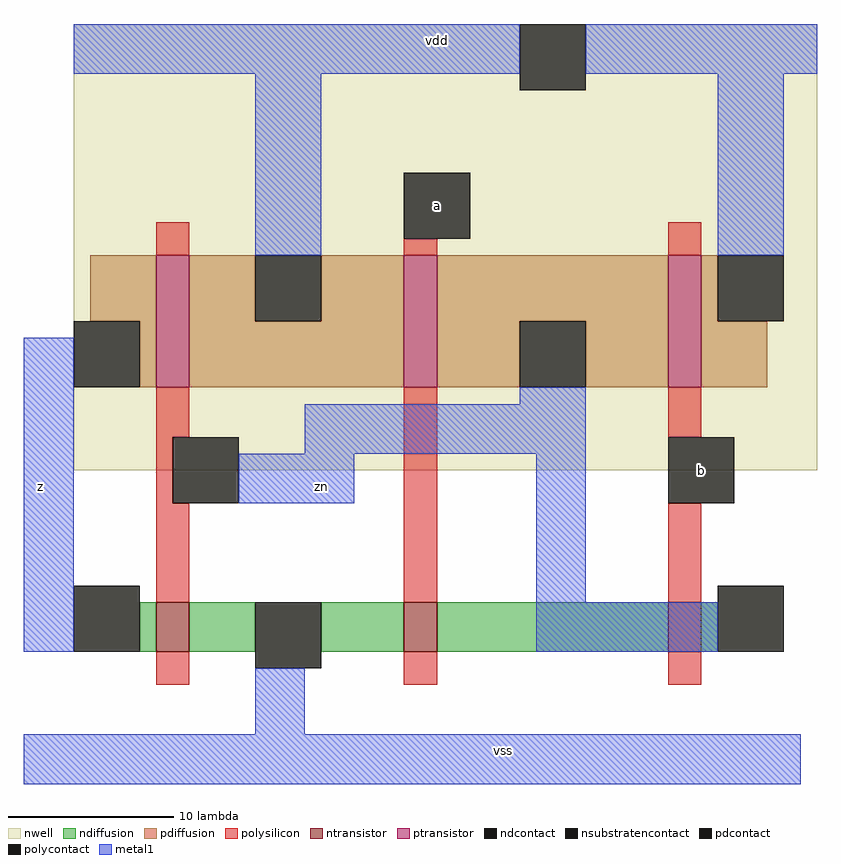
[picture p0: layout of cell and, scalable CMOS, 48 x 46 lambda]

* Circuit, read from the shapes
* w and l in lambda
.subckt and a b vdd vss z zn
M1 vss zn z VSUBS nfet w=3 l=2
M2 n1 a vss VSUBS nfet w=3 l=2
M3 zn b n1 VSUBS nfet w=3 l=2
M4 vdd zn z vdd pfet w=8 l=2
M5 zn a vdd vdd pfet w=8 l=2
M6 vdd b zn vdd pfet w=8 l=2
.ends

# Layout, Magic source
magic
tech scmos
<< nwell >>
rect -14 19 31 46
<< polysilicon >>
rect -9 32 -7 34
rect 6 32 8 33
rect 22 32 24 34
rect -9 21 -7 24
rect -9 17 -8 21
rect -9 11 -7 17
rect 6 11 8 24
rect 22 21 24 24
rect 22 11 24 17
rect -9 6 -7 8
rect 6 6 8 8
rect 22 6 24 8
<< ndiffusion >>
rect -10 8 -9 11
rect -7 8 -3 11
rect 1 8 6 11
rect 8 8 22 11
rect 24 8 25 11
<< pdiffusion >>
rect -13 28 -9 32
rect -10 24 -9 28
rect -7 28 -3 32
rect 1 28 6 32
rect -7 24 6 28
rect 8 28 22 32
rect 8 24 13 28
rect 17 24 22 28
rect 24 28 25 32
rect 24 24 28 28
<< metal1 >>
rect -14 43 13 46
rect -3 32 1 43
rect 17 43 31 46
rect 25 32 29 43
rect -17 8 -14 27
rect 13 23 17 24
rect 0 20 17 23
rect -4 17 3 20
rect 14 11 17 20
rect 14 8 25 11
rect -3 3 0 7
rect -17 0 30 3
<< ntransistor >>
rect -9 8 -7 11
rect 6 8 8 11
rect 22 8 24 11
<< ptransistor >>
rect -9 24 -7 32
rect 6 24 8 32
rect 22 24 24 32
<< polycontact >>
rect 6 33 10 37
rect -8 17 -4 21
rect 22 17 26 21
<< ndcontact >>
rect -14 8 -10 12
rect -3 7 1 11
rect 25 8 29 12
<< pdcontact >>
rect -14 24 -10 28
rect -3 28 1 32
rect 13 24 17 28
rect 25 28 29 32
<< nsubstratencontact >>
rect 13 42 17 46
<< labels >>
rlabel metal1 12 2 12 2 1 vss
rlabel polycontact 24 19 24 19 1 b
rlabel metal1 1 18 1 18 1 zn
rlabel metal1 -16 18 -16 18 3 z
rlabel metal1 8 45 8 45 5 vdd
rlabel polycontact 8 35 8 35 1 a
<< end >>
